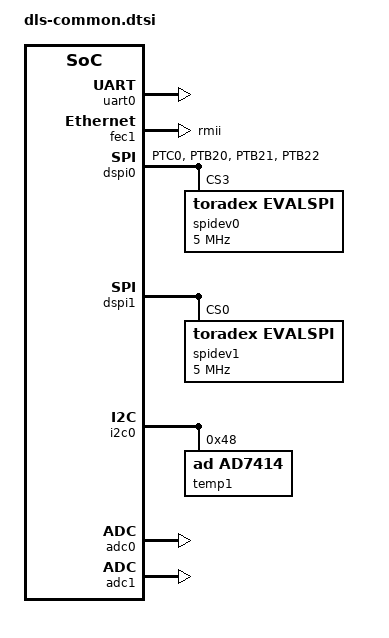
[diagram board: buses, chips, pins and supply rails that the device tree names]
/* Device tree definitions specific to the Diamond Digital Power Supply carrier
 * board.  This file builds on the vf500-colibri.dtsi definitions for the
 * Toradex Colibri VF50 module. */

/ {
    chosen {
        stdout-path = "serial0:115200n8";
    };

    aliases {
        ethernet0 = &fec1;
    };
};

/* Serial console. */
&uart0 {
    status = "okay";
};

/* Ethernet interface */
&fec1 {
    phy-mode = "rmii";
    pinctrl-names = "default";
    pinctrl-0 = <&pinctrl_fec1>;
    status = "okay";
};

/* Colibri SPI to ADC FPGA */
&dspi0 {
    bus-num = <0>;
    pinctrl-names = "default";
    pinctrl-0 = <&pinctrl_dspi0>;
    status = "okay";

    spidev0: spidev@3 {
        compatible = "toradex,evalspi";
        reg = <3>;
        spi-max-frequency = <5000000>;      /* 5 MHz */
        status = "okay";
    };
};

/* Colibri SPI to digital control FPGA */
&dspi1 {
    status = "okay";

    spidev1: spidev@0 {
        compatible = "toradex,evalspi";
        reg = <0>;
        spi-max-frequency = <5000000>;      /* 5 MHz */
        status = "okay";
    };
};

/* I2C bus to temperature sensor. */
&i2c0 {
    status = "okay";

    temp1: ad7414@48 {
        compatible = "ad,ad7414";
        reg = <0x48>;
    };
};

&adc0 {
    status = "okay";
};

&adc1 {
    status = "okay";
};

/* GPIO IO Mux bit assignments.  The table below describing the pin control
 * codes is taken from the development guide, and is itself taken from the VFxxx
 * Controller Reference manual.
 *
 * Bits    Mask    Mask    Function
 * 0       0x0001  IBE     Set to 1 to enable input buffer
 * 1       0x0002  OBE     Set to 1 to enable output buffer
 * 2       0x0004  PUE     Set to 1 for output pull-up/down, 0 for keeper if
 *                         enabled in PKE
 * 3       0x0008  PKE     Set to 1 to enable pull-up/down or keeper
 * 5:4     0x0030  PUS     Pull up or down and strength if enabled in PKE.  0 =>
 *                         100 kOhm pull-down, 1 => 47 kOhm pull-up,
 *                         2 => 100 kOhm pull-up, 3 => 22 kOhm pull-up.
 * 8:6     0x01C0  DSE     Drive strength field.  0 => output disabled,
 *                         1 => 150 Ohm, 2 => 75 Ohm, 3 => 50 Ohm, 4 => 37 Ohm,
 *                         5 => 30 Ohm, 6 => 25 Ohm, 7 => 20 Ohm.
 * 9       0x0200  HYS     Set to 1 for Schmitt trigger input, 0 for CMOS
 * 10      0x0400  ODE     Set to 1 for open drain output
 * 11      0x0800  SRE     Set to 1 for fast slew rate
 * 13:12   0x3000  SPEED   Speed selection.  0 => 50 MHz, 1, 2 => 100 MHz,
 *                         3 => 200 MHz.
 *
 * We program the FPGA output pins to avoid interfering as far as possible with
 * the FPGA's shared use of the CCLK and DSO pins (used for access to the Flash
 * configuration), and to try and avoid triggering a reset of the FPGA.  This is
 * done by leaving the outputs disabled until needed, and leaving the PROGB and
 * CCLK pins pulled up and down respectively. */
&iomuxc {
    vf610-colibri {
        /* We configure the general purpose GPIOs here.  We overwrite the
         * original pinctrl_hog_0 group to free up GPIOs we need elsewhere. */
        pinctrl_hog_0: hoggrp-0 {
            fsl,pins = <
                /* XL TRIG input. */
                VF610_PAD_PTB17__GPIO_39    0x0201
                /* Input switch. */
                VF610_PAD_PTD26__GPIO_68    0x0001      // SW1-8
                VF610_PAD_PTD4__GPIO_83     0x0001      // SW1-4
                VF610_PAD_PTE3__GPIO_108    0x0001      // SW1-2
                VF610_PAD_PTD9__GPIO_88     0x0001      // SW1-1
                /* SPARE 1 to SPARE 9.  Currently input and output disabled. */
                VF610_PAD_PTD10__GPIO_89    0x0000      // SPARE 1
                VF610_PAD_PTC29__GPIO_102   0x0000      // SPARE 2
                VF610_PAD_PTA9__GPIO_2      0x0000      // SPARE 3
                VF610_PAD_PTB28__GPIO_98    0x0000      // SPARE 4
                VF610_PAD_PTC30__GPIO_103   0x0000      // SPARE 5
                VF610_PAD_PTD29__GPIO_65    0x0000      // SPARE 6
                VF610_PAD_PTE5__GPIO_110    0x0000      // SPARE 7
                VF610_PAD_PTE6__GPIO_111    0x0000      // SPARE 8
                VF610_PAD_PTD25__GPIO_69    0x0000      // SPARE 9
                /* Extra ADC input on ADC0 channel 2. */
                VF610_PAD_PTB0__ADC0_SE2    0x0001      // ADC input
                VF610_PAD_PTD11__GPIO_90    0x0201      // Alert input
            >;
        };

        pinctrl_dspi0: dspi0grp {
            fsl,pins = <
                VF610_PAD_PTC0__DSPI0_CS3       0x1182
                VF610_PAD_PTB20__DSPI0_SIN      0x1181
                VF610_PAD_PTB21__DSPI0_SOUT     0x1182
                VF610_PAD_PTB22__DSPI0_SCK      0x1182
            >;
        };

        pinctrl_hog_1: hoggrp-1 {
            fsl,pins = <>;
        };
    };
};
